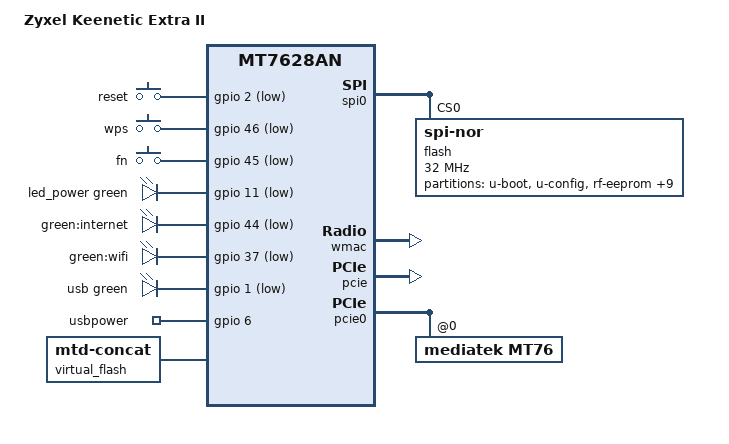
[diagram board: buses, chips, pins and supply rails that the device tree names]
#include "mt7628an.dtsi"

#include <dt-bindings/gpio/gpio.h>
#include <dt-bindings/input/input.h>
#include <dt-bindings/leds/common.h>

/ {
	compatible = "zyxel,keenetic-extra-ii", "mediatek,mt7628an-soc";
	model = "Zyxel Keenetic Extra II";

	aliases {
		led-boot = &led_power;
		led-failsafe = &led_power;
		led-running = &led_power;
		led-upgrade = &led_power;
	};

	chosen {
		bootargs = "console=ttyS0,57600n8";
	};

	keys {
		compatible = "gpio-keys";

		reset {
			label = "reset";
			gpios = <&gpio 2 GPIO_ACTIVE_LOW>;
			linux,code = <KEY_RESTART>;
		};

		wps {
			label = "wps";
			gpios = <&gpio 46 GPIO_ACTIVE_LOW>;
			linux,code = <KEY_WPS_BUTTON>;
		};

		fn {
			label = "fn";
			gpios = <&gpio 45 GPIO_ACTIVE_LOW>;
			linux,code = <BTN_0>;
		};
	};

	leds {
		compatible = "gpio-leds";

		led_power: power {
			function = LED_FUNCTION_POWER;
			color = <LED_COLOR_ID_GREEN>;
			gpios = <&gpio 11 GPIO_ACTIVE_LOW>;
		};

		internet {
			label = "green:internet";
			gpios = <&gpio 44 GPIO_ACTIVE_LOW>;
		};

		wifi {
			label = "green:wifi";
			gpios = <&gpio 37 GPIO_ACTIVE_LOW>;
		};

		usb {
			function = LED_FUNCTION_USB;
			color = <LED_COLOR_ID_GREEN>;
			gpios = <&gpio 1 GPIO_ACTIVE_LOW>;
			trigger-sources = <&ohci_port1>, <&ehci_port1>;
			linux,default-trigger = "usbport";
		};
	};

	gpio_export {
		compatible = "gpio-export";
		#size-cells = <0>;

		usbpower {
			gpio-export,name = "usbpower";
			gpio-export,output = <1>;
			gpios = <&gpio 6 GPIO_ACTIVE_HIGH>;
		};
	};

	virtual_flash {
		compatible = "mtd-concat";
		devices = <&firmware1 &firmware2>;

		partitions {
			compatible = "fixed-partitions";
			#address-cells = <1>;
			#size-cells = <1>;

			partition@0 {
				compatible = "denx,uimage";
				label = "firmware";
				reg = <0x0 0x1d20000>;
			};
		};
	};
};

&spi0 {
	status = "okay";

	flash@0 {
		compatible = "jedec,spi-nor";
		reg = <0>;
		spi-max-frequency = <32000000>;

		partitions {
			compatible = "fixed-partitions";
			#address-cells = <1>;
			#size-cells = <1>;

			partition@0 {
				label = "u-boot";
				reg = <0x0 0x30000>;
				read-only;
			};

			partition@30000 {
				label = "u-config";
				reg = <0x30000 0x10000>;
				read-only;
			};

			partition@40000 {
				label = "rf-eeprom";
				reg = <0x40000 0x10000>;
				read-only;

				nvmem-layout {
					compatible = "fixed-layout";
					#address-cells = <1>;
					#size-cells = <1>;

					eeprom_factory_0: eeprom@0 {
						reg = <0x0 0x400>;
					};

					eeprom_factory_8000: eeprom@8000 {
						reg = <0x8000 0x200>;
					};

					macaddr_factory_4: macaddr@4 {
						reg = <0x4 0x6>;
					};
				};
			};

			firmware1: partition@50000 {
				label = "firmware_1";
				reg = <0x50000 0xe90000>;
			};

			partition@ee0000 {
				label = "config_1";
				reg = <0xee0000 0x10000>;
				read-only;
			};

			partition@ef0000 {
				label = "storage";
				reg = <0xef0000 0x100000>;
				read-only;
			};

			partition@ff0000 {
				label = "dump";
				reg = <0xff0000 0x10000>;
				read-only;
			};

			partition@1000000 {
				label = "u-state";
				reg = <0x1000000 0x30000>;
				read-only;
			};

			partition@1030000 {
				label = "u-config_res";
				reg = <0x1030000 0x10000>;
				read-only;
			};

			partition@1040000 {
				label = "rf-eeprom_res";
				reg = <0x1040000 0x10000>;
				read-only;
			};

			firmware2: partition@1050000 {
				label = "firmware_2";
				reg = <0x1050000 0xe90000>;
			};

			partition@1ee0000 {
				label = "config_2";
				reg = <0x1ee0000 0x10000>;
				read-only;
			};
		};
	};
};

&ethernet {
	nvmem-cells = <&macaddr_factory_4>;
	nvmem-cell-names = "mac-address";
};

&esw {
	mediatek,portmap = <0x3e>;
};

&wmac {
	status = "okay";

	nvmem-cells = <&eeprom_factory_0>;
	nvmem-cell-names = "eeprom";
};

&pcie {
	status = "okay";
};

&pcie0 {
	mt76@0,0 {
		compatible = "mediatek,mt76";
		reg = <0x0000 0 0 0 0>;
		nvmem-cells = <&eeprom_factory_8000>;
		nvmem-cell-names = "eeprom";
		ieee80211-freq-limit = <5000000 6000000>;
	};
};

&state_default {
	gpio {
		groups = "gpio", "i2s", "refclk", "spi cs1", "uart1", "wled_an";
		function = "gpio";
	};
};
